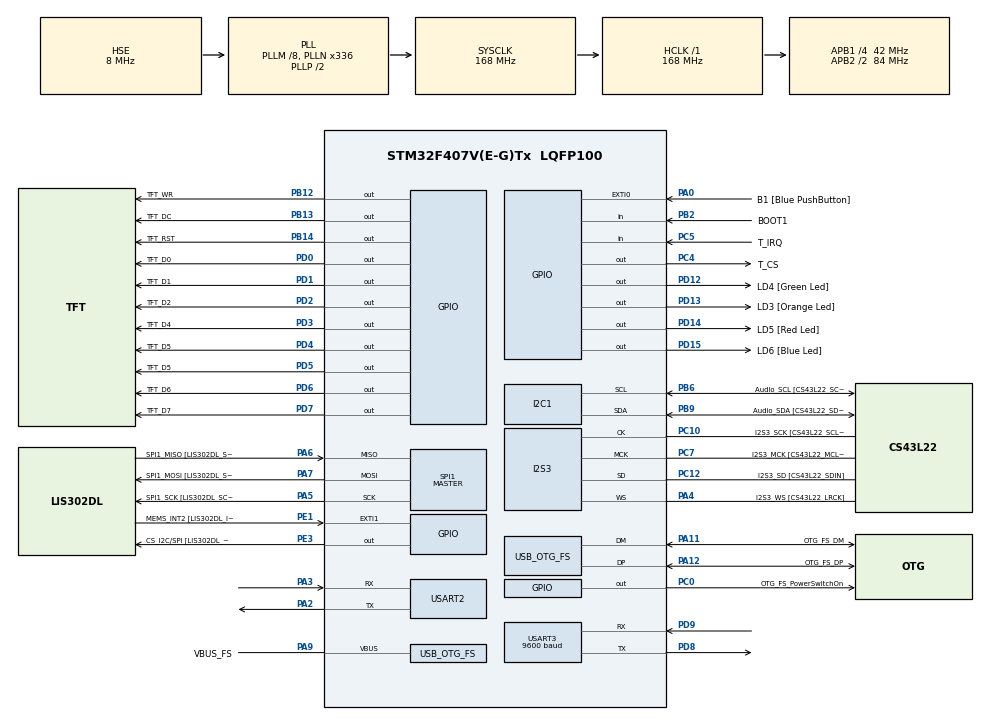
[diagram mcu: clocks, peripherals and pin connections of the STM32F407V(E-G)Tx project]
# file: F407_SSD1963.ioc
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I2S3.AudioFreq-Half_Duplex_Master=I2S_AUDIOFREQ_96K
I2S3.ErrorAudioFreq=-2.34 %
I2S3.ErrorAudioFreq-Half_Duplex_Master=0.8 %
I2S3.FullDuplexMode=I2S_FULLDUPLEXMODE_DISABLE
I2S3.Instance=SPI$Index
I2S3.RealAudioFreq=93.75 KHz
I2S3.RealAudioFreq-Half_Duplex_Master=96.774 KHz
I2S3.VirtualMode=I2S_MODE_MASTER
Mcu.Family=STM32F4
Mcu.Name=STM32F407V(E-G)Tx
Mcu.Package=LQFP100
NVIC.OTG_FS_IRQn=true\:0\:0\:false\:false\:true\:true\:true
NVIC.PriorityGroup=NVIC_PRIORITYGROUP_0
NVIC.TIM6_DAC_IRQn=true\:0\:0\:false\:false\:true\:false\:true
NVIC.TimeBase=TIM6_DAC_IRQn
NVIC.TimeBaseIP=TIM6
PA0-WKUP.GPIO_Label=B1 [Blue PushButton]
PA0-WKUP.GPIO_ModeDefaultEXTI=GPIO_MODE_EVT_RISING
PA0-WKUP.GPIO_PuPd=GPIO_NOPULL
PA0-WKUP.Signal=GPXTI0
PA10.GPIO_Label=OTG_FS_ID
PA10.GPIO_Mode=GPIO_MODE_AF_PP
PA10.GPIO_PuPd=GPIO_NOPULL
PA10.GPIO_Speed=GPIO_SPEED_FREQ_LOW
PA10.Signal=USB_OTG_FS_ID
PA11.GPIO_Label=OTG_FS_DM
PA11.GPIO_Mode=GPIO_MODE_AF_PP
PA11.GPIO_PuPd=GPIO_NOPULL
PA11.GPIO_Speed=GPIO_SPEED_FREQ_LOW
PA11.Mode=Host_Only
PA11.Signal=USB_OTG_FS_DM
PA12.GPIO_Label=OTG_FS_DP
PA12.GPIO_Mode=GPIO_MODE_AF_PP
PA12.GPIO_PuPd=GPIO_NOPULL
PA12.GPIO_Speed=GPIO_SPEED_FREQ_LOW
PA12.Mode=Host_Only
PA12.Signal=USB_OTG_FS_DP
PA13.GPIO_Label=SWDIO
PA13.Mode=Serial_Wire
PA13.Signal=SYS_JTMS-SWDIO
PA14.GPIO_Label=SWCLK
PA14.Mode=Serial_Wire
PA14.Signal=SYS_JTCK-SWCLK
PA2.Mode=Asynchronous
PA2.Signal=USART2_TX
PA3.Mode=Asynchronous
PA3.Signal=USART2_RX
PA4.GPIO_Label=I2S3_WS [CS43L22_LRCK]
PA4.GPIO_Mode=GPIO_MODE_AF_PP
PA4.GPIO_PuPd=GPIO_NOPULL
PA4.GPIO_Speed=GPIO_SPEED_FREQ_LOW
PA4.Mode=Half_Duplex_Master
PA4.Signal=I2S3_WS
PA5.GPIO_Label=SPI1_SCK [LIS302DL_SCL/SPC]
PA5.GPIO_Mode=GPIO_MODE_AF_PP
PA5.GPIO_PuPd=GPIO_NOPULL
PA5.GPIO_Speed=GPIO_SPEED_FREQ_LOW
PA5.Mode=Full_Duplex_Master
PA5.Signal=SPI1_SCK
PA6.GPIO_Label=SPI1_MISO [LIS302DL_SDO]
PA6.GPIO_Mode=GPIO_MODE_AF_PP
PA6.GPIO_PuPd=GPIO_NOPULL
PA6.GPIO_Speed=GPIO_SPEED_FREQ_LOW
PA6.Mode=Full_Duplex_Master
PA6.Signal=SPI1_MISO
PA7.GPIO_Label=SPI1_MOSI [LIS302DL_SDA/SDI/SDO]
PA7.GPIO_Mode=GPIO_MODE_AF_PP
PA7.GPIO_PuPd=GPIO_NOPULL
PA7.GPIO_Speed=GPIO_SPEED_FREQ_LOW
PA7.Mode=Full_Duplex_Master
PA7.Signal=SPI1_MOSI
PA9.GPIO_Label=VBUS_FS
PA9.GPIO_Mode=GPIO_MODE_INPUT
PA9.GPIO_PuPd=GPIO_NOPULL
PA9.Mode=Activate_VBUS
PA9.Signal=USB_OTG_FS_VBUS
PB10.GPIO_Label=CLK_IN [MP45DT02_CLK]
PB10.GPIO_Mode=GPIO_MODE_AF_PP
PB10.GPIO_PuPd=GPIO_NOPULL
PB10.GPIO_Speed=GPIO_SPEED_FREQ_LOW
PB10.Signal=I2S2_CK
PB12.GPIO_Label=TFT_WR
PB12.PinState=GPIO_PIN_SET
PB12.Signal=GPIO_Output
PB13.GPIO_Label=TFT_DC
PB13.PinState=GPIO_PIN_SET
PB13.Signal=GPIO_Output
PB14.GPIO_Label=TFT_RST
PB14.PinState=GPIO_PIN_SET
PB14.Signal=GPIO_Output
PB2.GPIO_Label=BOOT1
PB2.GPIO_Mode=GPIO_MODE_INPUT
PB2.GPIO_PuPd=GPIO_NOPULL
PB2.Signal=GPIO_Input
PB3.GPIO_Label=SWO
PB3.Signal=SYS_JTDO-SWO
PB6.GPIO_Label=Audio_SCL [CS43L22_SCL]
PB6.GPIO_Mode=GPIO_MODE_AF_OD
PB6.GPIO_PuPd=GPIO_NOPULL
PB6.GPIO_Speed=GPIO_SPEED_FREQ_LOW
PB6.Mode=I2C
PB6.Signal=I2C1_SCL
PB9.GPIO_Label=Audio_SDA [CS43L22_SDA]
PB9.GPIO_Mode=GPIO_MODE_AF_OD
PB9.GPIO_PuPd=GPIO_NOPULL
PB9.GPIO_Speed=GPIO_SPEED_FREQ_LOW
PB9.Mode=I2C
PB9.Signal=I2C1_SDA
PC0.GPIO_Label=OTG_FS_PowerSwitchOn
PC0.GPIO_PuPd=GPIO_NOPULL
PC0.GPIO_Speed=GPIO_SPEED_FREQ_LOW
PC0.PinState=GPIO_PIN_SET
PC0.Signal=GPIO_Output
PC10.GPIO_Label=I2S3_SCK [CS43L22_SCLK]
PC10.GPIO_Mode=GPIO_MODE_AF_PP
PC10.GPIO_PuPd=GPIO_NOPULL
PC10.GPIO_Speed=GPIO_SPEED_FREQ_LOW
PC10.Mode=Half_Duplex_Master
PC10.Signal=I2S3_CK
PC12.GPIO_Label=I2S3_SD [CS43L22_SDIN]
PC12.GPIO_Mode=GPIO_MODE_AF_PP
PC12.GPIO_PuPd=GPIO_NOPULL
PC12.GPIO_Speed=GPIO_SPEED_FREQ_LOW
PC12.Mode=Half_Duplex_Master
PC12.Signal=I2S3_SD
PC14-OSC32_IN.GPIO_Label=PC14-OSC32_IN
PC14-OSC32_IN.Mode=LSE-External-Oscillator
PC14-OSC32_IN.Signal=RCC_OSC32_IN
PC15-OSC32_OUT.GPIO_Label=PC15-OSC32_OUT
PC15-OSC32_OUT.Mode=LSE-External-Oscillator
PC15-OSC32_OUT.Signal=RCC_OSC32_OUT
PC3.GPIO_Label=PDM_OUT [MP45DT02_DOUT]
PC3.GPIO_Mode=GPIO_MODE_AF_PP
PC3.GPIO_PuPd=GPIO_NOPULL
PC3.GPIO_Speed=GPIO_SPEED_FREQ_LOW
PC3.Signal=I2S2_SD
PC4.GPIO_Label=T_CS
PC4.PinState=GPIO_PIN_SET
PC4.Signal=GPIO_Output
PC5.GPIO_Label=T_IRQ
PC5.GPIO_PuPd=GPIO_PULLUP
PC5.Signal=GPIO_Input
PC7.GPIO_Label=I2S3_MCK [CS43L22_MCLK]
PC7.GPIO_Mode=GPIO_MODE_AF_PP
PC7.GPIO_PuPd=GPIO_NOPULL
PC7.GPIO_Speed=GPIO_SPEED_FREQ_LOW
PC7.Mode=Master_Clock_Activated
PC7.Signal=I2S3_MCK
PD0.GPIO_Label=TFT_D0
PD0.Signal=GPIO_Output
PD1.GPIO_Label=TFT_D1
PD1.Signal=GPIO_Output
PD12.GPIO_Label=LD4 [Green Led]
PD12.GPIO_PuPd=GPIO_NOPULL
PD12.GPIO_Speed=GPIO_SPEED_FREQ_LOW
PD12.Signal=GPIO_Output
PD13.GPIO_Label=LD3 [Orange Led]
PD13.GPIO_PuPd=GPIO_NOPULL
PD13.GPIO_Speed=GPIO_SPEED_FREQ_LOW
PD13.Signal=GPIO_Output
PD14.GPIO_Label=LD5 [Red Led]
PD14.GPIO_PuPd=GPIO_NOPULL
PD14.GPIO_Speed=GPIO_SPEED_FREQ_LOW
PD14.Signal=GPIO_Output
PD15.GPIO_Label=LD6 [Blue Led]
PD15.GPIO_PuPd=GPIO_NOPULL
PD15.GPIO_Speed=GPIO_SPEED_FREQ_LOW
PD15.Signal=GPIO_Output
PD2.GPIO_Label=TFT_D2
PD2.Signal=GPIO_Output
PD3.GPIO_Label=TFT_D4
PD3.Signal=GPIO_Output
PD4.GPIO_Label=TFT_D5
PD4.Signal=GPIO_Output
PD5.GPIO_Label=TFT_D5
PD5.Signal=GPIO_Output
PD6.GPIO_Label=TFT_D6
PD6.Signal=GPIO_Output
PD7.GPIO_Label=TFT_D7
PD7.Signal=GPIO_Output
PD8.Mode=Asynchronous
PD8.Signal=USART3_TX
PD9.Mode=Asynchronous
PD9.Signal=USART3_RX
PE1.GPIO_Label=MEMS_INT2 [LIS302DL_INT2]
PE1.GPIO_ModeDefaultEXTI=GPIO_MODE_EVT_RISING
PE1.GPIO_PuPd=GPIO_NOPULL
PE1.Signal=GPXTI1
PE3.GPIO_Label=CS_I2C/SPI [LIS302DL_CS_I2C/SPI]
PE3.GPIO_PuPd=GPIO_NOPULL
PE3.GPIO_Speed=GPIO_SPEED_FREQ_LOW
PE3.Signal=GPIO_Output
PH0-OSC_IN.GPIO_Label=PH0-OSC_IN
PH0-OSC_IN.Mode=HSE-External-Oscillator
PH0-OSC_IN.Signal=RCC_OSC_IN
PH1-OSC_OUT.GPIO_Label=PH1-OSC_OUT
PH1-OSC_OUT.Mode=HSE-External-Oscillator
PH1-OSC_OUT.Signal=RCC_OSC_OUT
ProjectManager.HeapSize=0x200
ProjectManager.StackSize=0x400
ProjectManager.TargetToolchain=TrueSTUDIO
RCC.48MHZClocksFreq_Value=48000000
RCC.AHBFreq_Value=168000000
RCC.APB1CLKDivider=RCC_HCLK_DIV4
RCC.APB1Freq_Value=42000000
RCC.APB1TimFreq_Value=84000000
RCC.APB2CLKDivider=RCC_HCLK_DIV2
RCC.APB2Freq_Value=84000000
RCC.APB2TimFreq_Value=168000000
RCC.CortexFreq_Value=168000000
RCC.HCLKFreq_Value=168000000
RCC.HSE_VALUE=8000000
RCC.HSI_VALUE=16000000
RCC.PLLM=8
RCC.PLLN=336
RCC.PLLQ=7
RCC.SYSCLKFreq_VALUE=168000000
RCC.SYSCLKSource=RCC_SYSCLKSOURCE_PLLCLK
RCC.VCOOutputFreq_Value=336000000
SPI1.BaudRatePrescaler-Full_Duplex_Master=SPI_BAUDRATEPRESCALER_2
SPI1.CalculateBaudRate-Full_Duplex_Master=42.0 MBits/s
SPI1.Direction=SPI_DIRECTION_2LINES
SPI1.Mode=SPI_MODE_MASTER
SPI1.Mode-Full_Duplex_Master=SPI_MODE_MASTER
SPI1.VirtualType=VM_MASTER
USART2.VirtualMode=VM_ASYNC
USART3.BaudRate=9600
USART3.VirtualMode=VM_ASYNC
USB_HOST.BSP.number=1
USB_HOST.USBH_HandleTypeDef-CDC_FS=hUsbHostFS
USB_HOST.VirtualModeFS=Cdc
USB_HOST0.BSP.STBoard=false
USB_HOST0.BSP.api=Unknown
USB_HOST0.BSP.i2caddr=0
USB_HOST0.BSP.i2creg=0
USB_HOST0.BSP.instance=PC0
USB_HOST0.BSP.ip=GPIO
USB_HOST0.BSP.mode=Output
USB_HOST0.BSP.name=Drive_VBUS_FS
USB_HOST0.BSP.solution=PC0
USB_OTG_FS.VirtualMode=Host_Only
USB_OTG_FS.phy_itface=HCD_PHY_EMBEDDED
VP_SYS_VS_tim6.Mode=TIM6
VP_USB_HOST_VS_USB_HOST_CDC_FS.Mode=CDC_FS
board=STM32F407G-DISC1

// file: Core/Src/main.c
/* USER CODE BEGIN Header */
/**
  ******************************************************************************
  * @file           : main.c
  * @brief          : Main program body
  ******************************************************************************
  * @attention
  *
  * <h2><center>&copy; Copyright (c) 2019 STMicroelectronics.
  * All rights reserved.</center></h2>
  *
  * This software component is licensed by ST under Ultimate Liberty license
  * SLA0044, the "License"; You may not use this file except in compliance with
  * the License. You may obtain a copy of the License at:
  *                             www.st.com/SLA0044
  *
  ******************************************************************************
  */
/* USER CODE END Header */

#include "main.h"
#include "usb_host.h"

/* USER CODE BEGIN Includes */
#include "lvgl/lvgl.h"
#include "lv_drivers/display/SSD1963.h"
#include "lv_drivers/indev/XPT2046.h"
#include "Simulacare/src/main.h"
/* USER CODE END Includes */

/* USER CODE BEGIN PTD */
static lv_disp_buf_t disp_buf;
static lv_color_t buf[LV_HOR_RES_MAX * 10];		// Declare a buffer for 10 lines
static lv_color_t buf2[LV_HOR_RES_MAX * 10];	// Declare a buffer for 10 lines
lv_indev_drv_t indev_drv;
lv_indev_t * indev_touchpad;
/* USER CODE END PTD */

I2C_HandleTypeDef hi2c1;

I2S_HandleTypeDef hi2s3;

SPI_HandleTypeDef hspi1;

UART_HandleTypeDef huart2;
UART_HandleTypeDef huart3;

void SystemClock_Config(void);
static void MX_GPIO_Init(void);
static void MX_I2C1_Init(void);
static void MX_I2S3_Init(void);
static void MX_SPI1_Init(void);
static void MX_USART2_UART_Init(void);
static void MX_USART3_UART_Init(void);
void MX_USB_HOST_Process(void);

int main(void)
{

  /* MCU Configuration--------------------------------------------------------*/

  /* Reset of all peripherals, Initializes the Flash interface and the Systick. */
  HAL_Init();

  /* Configure the system clock */
  SystemClock_Config();

  /* Initialize all configured peripherals */
  MX_GPIO_Init();
  MX_I2C1_Init();
  MX_I2S3_Init();
  MX_SPI1_Init();
  MX_USART2_UART_Init();
  MX_USART3_UART_Init();
  MX_USB_HOST_Init();
  /* USER CODE BEGIN 2 */
    HAL_GPIO_TogglePin(GPIOD, LD5_Pin);

    ssd1963_init();
  lv_disp_buf_init(&disp_buf, buf, buf2, LV_HOR_RES_MAX * 10);    //Initialize the display buffer
  lv_init();
  // LVGL Setup
  lv_disp_drv_t disp_drv;               //Descriptor of a display driver
  lv_disp_drv_init(&disp_drv);          //Basic initialization
  // TFT
  disp_drv.hor_res = 800;               //Set the horizontal resolution
  disp_drv.ver_res = 480;               //Set the vertical resolution
  disp_drv.flush_cb = ssd1963_flush;	//Set your driver function
  disp_drv.buffer = &disp_buf;          //Assign the buffer to teh display
  lv_disp_drv_register(&disp_drv);      //Finally register the drive
  // Touch-Pad
  /*Register a touchpad input device*/
  lv_indev_drv_init(&indev_drv);
  indev_drv.type = LV_INDEV_TYPE_POINTER;
  indev_drv.read_cb = xpt2046_read;
  indev_touchpad = lv_indev_drv_register(&indev_drv);

  HAL_GPIO_TogglePin(GPIOD, LD6_Pin);
  simulacare();

  //lv_obj_t * scr = lv_disp_get_scr_act(NULL);     /*Get the current screen*/

  /*Create a Label on the currently active screen*/
  //lv_obj_t * label1 =  lv_label_create(scr, NULL);

  /*Modify the Label's text*/
  //lv_label_set_text(label1, "Hello world!");

  /* Align the Label to the center
   * NULL means align on parent (which is the screen now)
   * 0, 0 at the end means an x, y offset after alignment*/
  //lv_obj_align(label1, NULL, LV_ALIGN_CENTER, 0, 0);

  /* USER CODE END 2 */

  /* Infinite loop */
  while (1)
  {
    MX_USB_HOST_Process();

    /* USER CODE BEGIN 3 */
    // Eventos da GUI LittleVG
  	  lv_task_handler();

  	  uint8_t spi_data = 0x55;
  	HAL_SPI_Transmit(&hspi1, (uint8_t *)&spi_data, 1, HAL_MAX_DELAY);
  	HAL_GPIO_TogglePin(GPIOD, LD4_Pin);
  }
  /* USER CODE END 3 */
}

void SystemClock_Config(void)
{
  RCC_OscInitTypeDef RCC_OscInitStruct = {0};
  RCC_ClkInitTypeDef RCC_ClkInitStruct = {0};
  RCC_PeriphCLKInitTypeDef PeriphClkInitStruct = {0};

  /** Configure the main internal regulator output voltage
  */
  __HAL_RCC_PWR_CLK_ENABLE();
  __HAL_PWR_VOLTAGESCALING_CONFIG(PWR_REGULATOR_VOLTAGE_SCALE1);
  /** Initializes the CPU, AHB and APB busses clocks
  */
  RCC_OscInitStruct.OscillatorType = RCC_OSCILLATORTYPE_HSE;
  RCC_OscInitStruct.HSEState = RCC_HSE_ON;
  RCC_OscInitStruct.PLL.PLLState = RCC_PLL_ON;
  RCC_OscInitStruct.PLL.PLLSource = RCC_PLLSOURCE_HSE;
  RCC_OscInitStruct.PLL.PLLM = 8;
  RCC_OscInitStruct.PLL.PLLN = 336;
  RCC_OscInitStruct.PLL.PLLP = RCC_PLLP_DIV2;
  RCC_OscInitStruct.PLL.PLLQ = 7;
  if (HAL_RCC_OscConfig(&RCC_OscInitStruct) != HAL_OK)
  {
    Error_Handler();
  }
  /** Initializes the CPU, AHB and APB busses clocks
  */
  RCC_ClkInitStruct.ClockType = RCC_CLOCKTYPE_HCLK|RCC_CLOCKTYPE_SYSCLK
                              |RCC_CLOCKTYPE_PCLK1|RCC_CLOCKTYPE_PCLK2;
  RCC_ClkInitStruct.SYSCLKSource = RCC_SYSCLKSOURCE_PLLCLK;
  RCC_ClkInitStruct.AHBCLKDivider = RCC_SYSCLK_DIV1;
  RCC_ClkInitStruct.APB1CLKDivider = RCC_HCLK_DIV4;
  RCC_ClkInitStruct.APB2CLKDivider = RCC_HCLK_DIV2;

  if (HAL_RCC_ClockConfig(&RCC_ClkInitStruct, FLASH_LATENCY_5) != HAL_OK)
  {
    Error_Handler();
  }
  PeriphClkInitStruct.PeriphClockSelection = RCC_PERIPHCLK_I2S;
  PeriphClkInitStruct.PLLI2S.PLLI2SN = 192;
  PeriphClkInitStruct.PLLI2S.PLLI2SR = 2;
  if (HAL_RCCEx_PeriphCLKConfig(&PeriphClkInitStruct) != HAL_OK)
  {
    Error_Handler();
  }
}

static void MX_I2C1_Init(void)
{

  hi2c1.Instance = I2C1;
  hi2c1.Init.ClockSpeed = 100000;
  hi2c1.Init.DutyCycle = I2C_DUTYCYCLE_2;
  hi2c1.Init.OwnAddress1 = 0;
  hi2c1.Init.AddressingMode = I2C_ADDRESSINGMODE_7BIT;
  hi2c1.Init.DualAddressMode = I2C_DUALADDRESS_DISABLE;
  hi2c1.Init.OwnAddress2 = 0;
  hi2c1.Init.GeneralCallMode = I2C_GENERALCALL_DISABLE;
  hi2c1.Init.NoStretchMode = I2C_NOSTRETCH_DISABLE;
  if (HAL_I2C_Init(&hi2c1) != HAL_OK)
  {
    Error_Handler();
  }

}

static void MX_I2S3_Init(void)
{

  hi2s3.Instance = SPI3;
  hi2s3.Init.Mode = I2S_MODE_MASTER_TX;
  hi2s3.Init.Standard = I2S_STANDARD_PHILIPS;
  hi2s3.Init.DataFormat = I2S_DATAFORMAT_16B;
  hi2s3.Init.MCLKOutput = I2S_MCLKOUTPUT_ENABLE;
  hi2s3.Init.AudioFreq = I2S_AUDIOFREQ_96K;
  hi2s3.Init.CPOL = I2S_CPOL_LOW;
  hi2s3.Init.ClockSource = I2S_CLOCK_PLL;
  hi2s3.Init.FullDuplexMode = I2S_FULLDUPLEXMODE_DISABLE;
  if (HAL_I2S_Init(&hi2s3) != HAL_OK)
  {
    Error_Handler();
  }

}

static void MX_SPI1_Init(void)
{

  /* SPI1 parameter configuration*/
  hspi1.Instance = SPI1;
  hspi1.Init.Mode = SPI_MODE_MASTER;
  hspi1.Init.Direction = SPI_DIRECTION_2LINES;
  hspi1.Init.DataSize = SPI_DATASIZE_8BIT;
  hspi1.Init.CLKPolarity = SPI_POLARITY_LOW;
  hspi1.Init.CLKPhase = SPI_PHASE_1EDGE;
  hspi1.Init.NSS = SPI_NSS_SOFT;
  hspi1.Init.BaudRatePrescaler = SPI_BAUDRATEPRESCALER_2;
  hspi1.Init.FirstBit = SPI_FIRSTBIT_MSB;
  hspi1.Init.TIMode = SPI_TIMODE_DISABLE;
  hspi1.Init.CRCCalculation = SPI_CRCCALCULATION_DISABLE;
  hspi1.Init.CRCPolynomial = 10;
  if (HAL_SPI_Init(&hspi1) != HAL_OK)
  {
    Error_Handler();
  }

}

static void MX_USART2_UART_Init(void)
{

  huart2.Instance = USART2;
  huart2.Init.BaudRate = 115200;
  huart2.Init.WordLength = UART_WORDLENGTH_8B;
  huart2.Init.StopBits = UART_STOPBITS_1;
  huart2.Init.Parity = UART_PARITY_NONE;
  huart2.Init.Mode = UART_MODE_TX_RX;
  huart2.Init.HwFlowCtl = UART_HWCONTROL_NONE;
  huart2.Init.OverSampling = UART_OVERSAMPLING_16;
  if (HAL_UART_Init(&huart2) != HAL_OK)
  {
    Error_Handler();
  }

}

static void MX_USART3_UART_Init(void)
{

  huart3.Instance = USART3;
  huart3.Init.BaudRate = 9600;
  huart3.Init.WordLength = UART_WORDLENGTH_8B;
  huart3.Init.StopBits = UART_STOPBITS_1;
  huart3.Init.Parity = UART_PARITY_NONE;
  huart3.Init.Mode = UART_MODE_TX_RX;
  huart3.Init.HwFlowCtl = UART_HWCONTROL_NONE;
  huart3.Init.OverSampling = UART_OVERSAMPLING_16;
  if (HAL_UART_Init(&huart3) != HAL_OK)
  {
    Error_Handler();
  }

}

static void MX_GPIO_Init(void)
{
  GPIO_InitTypeDef GPIO_InitStruct = {0};

  /* GPIO Ports Clock Enable */
  __HAL_RCC_GPIOE_CLK_ENABLE();
  __HAL_RCC_GPIOC_CLK_ENABLE();
  __HAL_RCC_GPIOH_CLK_ENABLE();
  __HAL_RCC_GPIOA_CLK_ENABLE();
  __HAL_RCC_GPIOB_CLK_ENABLE();
  __HAL_RCC_GPIOD_CLK_ENABLE();

  /*Configure GPIO pin Output Level */
  HAL_GPIO_WritePin(CS_I2C_SPI_GPIO_Port, CS_I2C_SPI_Pin, GPIO_PIN_SET);

  /*Configure GPIO pin Output Level */
  HAL_GPIO_WritePin(GPIOC, OTG_FS_PowerSwitchOn_Pin|T_CS_Pin, GPIO_PIN_SET);

  /*Configure GPIO pin Output Level */
  HAL_GPIO_WritePin(GPIOB, TFT_WR_Pin|TFT_DC_Pin|TFT_RST_Pin, GPIO_PIN_SET);

  /*Configure GPIO pin Output Level */
  HAL_GPIO_WritePin(GPIOD, LD4_Pin|LD3_Pin|LD5_Pin|LD6_Pin
                          |TFT_D0_Pin|TFT_D1_Pin|TFT_D2_Pin|TFT_D4_Pin
                          |TFT_D5_Pin|TFT_D5D5_Pin|TFT_D6_Pin|TFT_D7_Pin, GPIO_PIN_RESET);

  /*Configure GPIO pin : CS_I2C_SPI_Pin */
  GPIO_InitStruct.Pin = CS_I2C_SPI_Pin;
  GPIO_InitStruct.Mode = GPIO_MODE_OUTPUT_PP;
  GPIO_InitStruct.Pull = GPIO_NOPULL;
  GPIO_InitStruct.Speed = GPIO_SPEED_FREQ_LOW;
  HAL_GPIO_Init(CS_I2C_SPI_GPIO_Port, &GPIO_InitStruct);

  /*Configure GPIO pins : OTG_FS_PowerSwitchOn_Pin T_CS_Pin */
  GPIO_InitStruct.Pin = OTG_FS_PowerSwitchOn_Pin|T_CS_Pin;
  GPIO_InitStruct.Mode = GPIO_MODE_OUTPUT_PP;
  GPIO_InitStruct.Pull = GPIO_NOPULL;
  GPIO_InitStruct.Speed = GPIO_SPEED_FREQ_LOW;
  HAL_GPIO_Init(GPIOC, &GPIO_InitStruct);

  /*Configure GPIO pin : PDM_OUT_Pin */
  GPIO_InitStruct.Pin = PDM_OUT_Pin;
  GPIO_InitStruct.Mode = GPIO_MODE_AF_PP;
  GPIO_InitStruct.Pull = GPIO_NOPULL;
  GPIO_InitStruct.Speed = GPIO_SPEED_FREQ_LOW;
  GPIO_InitStruct.Alternate = GPIO_AF5_SPI2;
  HAL_GPIO_Init(PDM_OUT_GPIO_Port, &GPIO_InitStruct);

  /*Configure GPIO pin : B1_Pin */
  GPIO_InitStruct.Pin = B1_Pin;
  GPIO_InitStruct.Mode = GPIO_MODE_EVT_RISING;
  GPIO_InitStruct.Pull = GPIO_NOPULL;
  HAL_GPIO_Init(B1_GPIO_Port, &GPIO_InitStruct);

  /*Configure GPIO pin : T_IRQ_Pin */
  GPIO_InitStruct.Pin = T_IRQ_Pin;
  GPIO_InitStruct.Mode = GPIO_MODE_INPUT;
  GPIO_InitStruct.Pull = GPIO_PULLUP;
  HAL_GPIO_Init(T_IRQ_GPIO_Port, &GPIO_InitStruct);

  /*Configure GPIO pin : BOOT1_Pin */
  GPIO_InitStruct.Pin = BOOT1_Pin;
  GPIO_InitStruct.Mode = GPIO_MODE_INPUT;
  GPIO_InitStruct.Pull = GPIO_NOPULL;
  HAL_GPIO_Init(BOOT1_GPIO_Port, &GPIO_InitStruct);

  /*Configure GPIO pin : CLK_IN_Pin */
  GPIO_InitStruct.Pin = CLK_IN_Pin;
  GPIO_InitStruct.Mode = GPIO_MODE_AF_PP;
  GPIO_InitStruct.Pull = GPIO_NOPULL;
  GPIO_InitStruct.Speed = GPIO_SPEED_FREQ_LOW;
  GPIO_InitStruct.Alternate = GPIO_AF5_SPI2;
  HAL_GPIO_Init(CLK_IN_GPIO_Port, &GPIO_InitStruct);

  /*Configure GPIO pins : TFT_WR_Pin TFT_DC_Pin TFT_RST_Pin */
  GPIO_InitStruct.Pin = TFT_WR_Pin|TFT_DC_Pin|TFT_RST_Pin;
  GPIO_InitStruct.Mode = GPIO_MODE_OUTPUT_PP;
  GPIO_InitStruct.Pull = GPIO_NOPULL;
  GPIO_InitStruct.Speed = GPIO_SPEED_FREQ_LOW;
  HAL_GPIO_Init(GPIOB, &GPIO_InitStruct);

  /*Configure GPIO pins : LD4_Pin LD3_Pin LD5_Pin LD6_Pin
                           TFT_D0_Pin TFT_D1_Pin TFT_D2_Pin TFT_D4_Pin
                           TFT_D5_Pin TFT_D5D5_Pin TFT_D6_Pin TFT_D7_Pin */
  GPIO_InitStruct.Pin = LD4_Pin|LD3_Pin|LD5_Pin|LD6_Pin
                          |TFT_D0_Pin|TFT_D1_Pin|TFT_D2_Pin|TFT_D4_Pin
                          |TFT_D5_Pin|TFT_D5D5_Pin|TFT_D6_Pin|TFT_D7_Pin;
  GPIO_InitStruct.Mode = GPIO_MODE_OUTPUT_PP;
  GPIO_InitStruct.Pull = GPIO_NOPULL;
  GPIO_InitStruct.Speed = GPIO_SPEED_FREQ_LOW;
  HAL_GPIO_Init(GPIOD, &GPIO_InitStruct);

  /*Configure GPIO pin : MEMS_INT2_Pin */
  GPIO_InitStruct.Pin = MEMS_INT2_Pin;
  GPIO_InitStruct.Mode = GPIO_MODE_EVT_RISING;
  GPIO_InitStruct.Pull = GPIO_NOPULL;
  HAL_GPIO_Init(MEMS_INT2_GPIO_Port, &GPIO_InitStruct);

}

void HAL_TIM_PeriodElapsedCallback(TIM_HandleTypeDef *htim)
{
  if (htim->Instance == TIM6) {
    HAL_IncTick();
  }
  /* USER CODE BEGIN Callback 1 */
  if (htim->Instance == TIM6) {
	  lv_tick_inc(1);
  }
  /* USER CODE END Callback 1 */
}

void Error_Handler(void)
{
}

/************************ (C) COPYRIGHT STMicroelectronics *****END OF FILE****/
